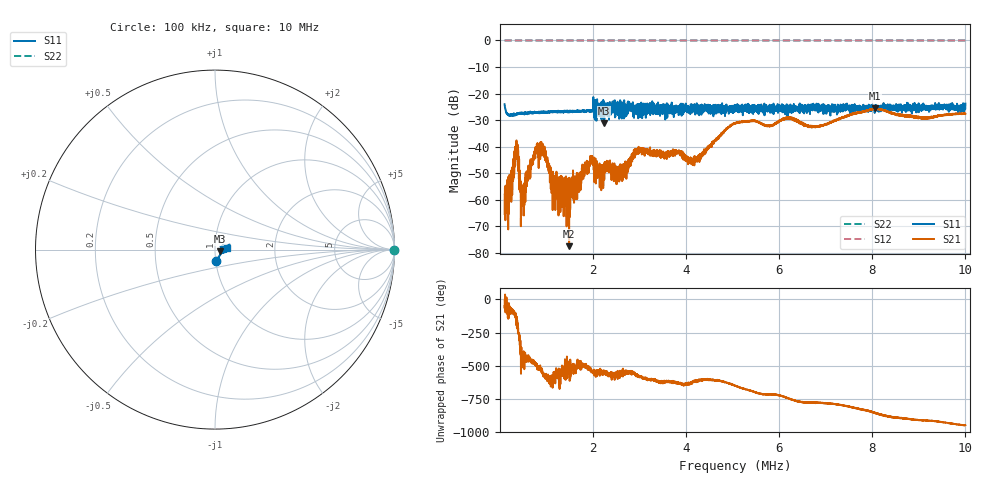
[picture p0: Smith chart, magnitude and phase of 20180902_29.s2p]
! Anritsu VNA Master:  Model: MS2026C/19
! SN:  1815009
! /card0/usr/20180902_29.s2p
! Existing Calibration Information:
! TYPE:  Current Settings,  Active Cal Settings
! TIME:  09/02/2018 06:18:52 PM,  09/02/2018 11:58:48 AM
! INTERNAL TEMP:  50.0 C,  48.8 C
! # POINTS:  4001,  4001
! START FREQ:  100.000 kHz,  100.000 kHz
! STOP FREQ:  10.000 MHz,  10.000 MHz
! SOURCE POWER:  Low,  Low
! IFBW:  500 Hz,  500 Hz
! AVG FACTOR:  1 ,  1
! REF PLANE 1:  0 mm,  0 mm
! REF PLANE 2:  0 mm,  0 mm
! CAL TYPE:  1P2P S11,S21,  1P2P S11,S21
! CAL METHOD:  SOLT,  SOLT
! CAL LINE TYPE:  Coax,  Coax
! DUT PORT 1:  N-Conn(M),  N-Conn(M)
! DUT PORT 2:  N-Conn(M),  N-Conn(M)
! CAL STATUS:  OK: Accuracy High,  --
# GHZ S RI R 50.0
! FREQ.GHZ  S11RE  S11IM  S21RE  S21IM  S12RE  S12IM  S22RE  S22IM
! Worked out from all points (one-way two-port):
!   4001 points, 100 kHz to 10 MHz, reference 50 ohm
!   highest |S21| = -25.58 dB at 8.052 MHz (marker M1); lowest = -77.4 dB at 1.486 MHz (marker M2)
!   lowest |S11| = -31.2 dB at 2.241 MHz (marker M3), VSWR 1.06, Z = 52.6 - j1.11 ohm
!   |S11| at or under -10 dB: start of sweep to end of sweep
!   |S22| runs from 0.0 to 0.0 dB; largest |S21 - S12| = 1
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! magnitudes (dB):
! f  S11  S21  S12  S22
! 100 kHz  -24.0  -65.3  0.0  0.0
! 350 kHz  -28.0  -42.9  0.0  0.0
! 496 kHz  -27.3  -59.2  0.0  0.0
! 694 kHz  -27.2  -46.5  0.0  0.0
! 854.9 kHz  -27.1  -43.6  0.0  0.0
! 939 kHz  -26.9  -43.6  0.0  0.0
! 1.159 MHz  -27.0  -51.2  0.0  0.0
! 1.486 MHz  -26.6  -77.4  0.0  0.0
! 1.751 MHz  -26.6  -52.6  0.0  0.0
! 1.974 MHz  -26.5  -44.4  0.0  0.0
! 2.139 MHz  -27.5  -46.3  0.0  0.0
! 2.241 MHz  -31.2  -52.4  0.0  0.0
! 2.54 MHz  -24.5  -51.3  0.0  0.0
! 2.946 MHz  -25.2  -41.5  0.0  0.0
! 3.402 MHz  -25.7  -41.9  0.0  0.0
! 4.191 MHz  -27.3  -44.6  0.0  0.0
! 5.05 MHz  -26.3  -31.2  0.0  0.0
! 6.218 MHz  -25.3  -29.5  0.0  0.0
! 6.701 MHz  -26.1  -32.8  0.0  0.0
! 8.052 MHz  -27.3  -25.6  0.0  0.0
! 8.352 MHz  -25.2  -26.9  0.0  0.0
! 10 MHz  -23.8  -27.6  0.0  0.0
